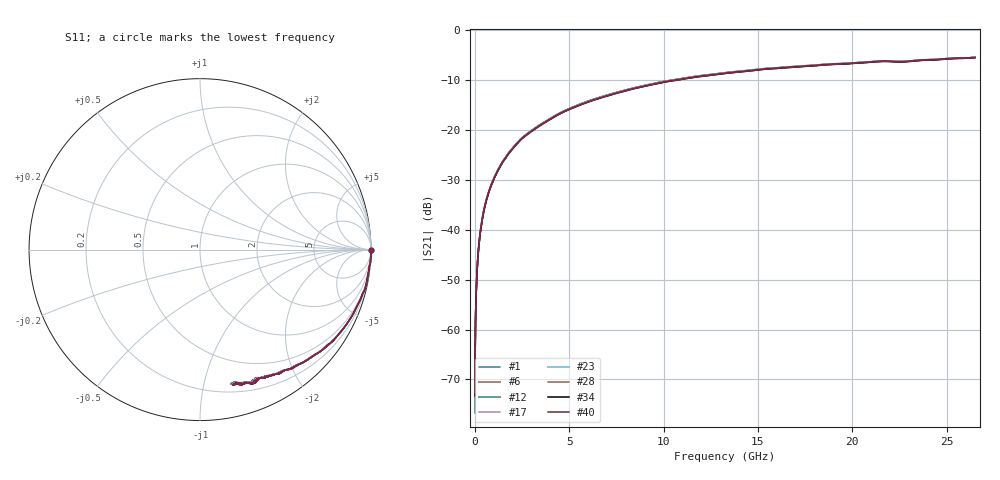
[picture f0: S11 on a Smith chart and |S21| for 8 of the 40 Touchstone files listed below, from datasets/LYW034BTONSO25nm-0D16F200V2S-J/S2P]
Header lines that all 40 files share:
!Keysight Technologies,N5222B,MY61253708,A.15.00.15
!Correction: S11(C  2-Port  )
!S21(C  2-Port  )
!S12(C  2-Port  )
!S22(C  2-Port  )
!S2P File: Measurements: S11, S21, S12, S22:
# Hz S  RI  R 50
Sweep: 10 MHz to 26.5 GHz
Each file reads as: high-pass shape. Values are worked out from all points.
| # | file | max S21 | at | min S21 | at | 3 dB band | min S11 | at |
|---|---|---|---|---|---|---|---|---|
| 1 | LYW034BTONSO25nm_0D16F200V2S_J_N120V_dev.s2p | -5.39 dB | 26.5 GHz | -68.5 dB | 10 MHz | 13.51 GHz-26.5 GHz | -1.9 dB | 25.5 GHz |
| 2 | LYW034BTONSO25nm_0D16F200V2S_J_N122V_dev.s2p | -5.39 dB | 26.5 GHz | -70.9 dB | 10 MHz | 13.51 GHz-26.5 GHz | -1.9 dB | 25.5 GHz |
| 3 | LYW034BTONSO25nm_0D16F200V2S_J_N124V_dev.s2p | -5.39 dB | 26.5 GHz | -75.9 dB | 10 MHz | 13.52 GHz-26.5 GHz | -1.9 dB | 25.5 GHz |
| 4 | LYW034BTONSO25nm_0D16F200V2S_J_N126V_dev.s2p | -5.40 dB | 26.5 GHz | -75.3 dB | 10 MHz | 13.52 GHz-26.5 GHz | -1.9 dB | 25.5 GHz |
| 5 | LYW034BTONSO25nm_0D16F200V2S_J_N128V_dev.s2p | -5.40 dB | 26.5 GHz | -64.9 dB | 20 MHz | 13.52 GHz-26.5 GHz | -1.9 dB | 25.5 GHz |
| 6 | LYW034BTONSO25nm_0D16F200V2S_J_N130V_dev.s2p | -5.40 dB | 26.5 GHz | -67.4 dB | 10 MHz | 13.52 GHz-26.5 GHz | -1.9 dB | 25.5 GHz |
| 7 | LYW034BTONSO25nm_0D16F200V2S_J_N132V_dev.s2p | -5.40 dB | 26.5 GHz | -65.1 dB | 10 MHz | 13.52 GHz-26.5 GHz | -1.9 dB | 25.5 GHz |
| 8 | LYW034BTONSO25nm_0D16F200V2S_J_N134V_dev.s2p | -5.40 dB | 26.5 GHz | -72.4 dB | 10 MHz | 13.55 GHz-26.5 GHz | -1.9 dB | 25.5 GHz |
| 9 | LYW034BTONSO25nm_0D16F200V2S_J_N136V_dev.s2p | -5.40 dB | 26.5 GHz | -67.8 dB | 10 MHz | 13.55 GHz-26.5 GHz | -1.9 dB | 25.5 GHz |
| 10 | LYW034BTONSO25nm_0D16F200V2S_J_N138V_dev.s2p | -5.41 dB | 26.5 GHz | -68.4 dB | 10 MHz | 13.56 GHz-26.5 GHz | -1.9 dB | 25.5 GHz |
| 11 | LYW034BTONSO25nm_0D16F200V2S_J_N140V_dev.s2p | -5.41 dB | 26.5 GHz | -65.9 dB | 10 MHz | 13.56 GHz-26.5 GHz | -1.9 dB | 25.5 GHz |
| 12 | LYW034BTONSO25nm_0D16F200V2S_J_N142V_dev.s2p | -5.41 dB | 26.5 GHz | -76.7 dB | 10 MHz | 13.56 GHz-26.5 GHz | -1.9 dB | 25.5 GHz |
| 13 | LYW034BTONSO25nm_0D16F200V2S_J_N144V_dev.s2p | -5.41 dB | 26.5 GHz | -63.2 dB | 20 MHz | 13.57 GHz-26.5 GHz | -1.9 dB | 25.5 GHz |
| 14 | LYW034BTONSO25nm_0D16F200V2S_J_N146V_dev.s2p | -5.41 dB | 26.5 GHz | -65.9 dB | 10 MHz | 13.57 GHz-26.5 GHz | -1.9 dB | 25.5 GHz |
| 15 | LYW034BTONSO25nm_0D16F200V2S_J_N148V_dev.s2p | -5.41 dB | 26.5 GHz | -73.4 dB | 10 MHz | 13.57 GHz-26.5 GHz | -1.9 dB | 25.5 GHz |
| 16 | LYW034BTONSO25nm_0D16F200V2S_J_N150V_dev.s2p | -5.42 dB | 26.5 GHz | -71.8 dB | 10 MHz | 13.57 GHz-26.5 GHz | -1.9 dB | 25.5 GHz |
| 17 | LYW034BTONSO25nm_0D16F200V2S_J_N152V_dev.s2p | -5.42 dB | 26.5 GHz | -65.0 dB | 10 MHz | 13.57 GHz-26.5 GHz | -1.9 dB | 25.5 GHz |
| 18 | LYW034BTONSO25nm_0D16F200V2S_J_N154V_dev.s2p | -5.42 dB | 26.5 GHz | -70.8 dB | 10 MHz | 13.57 GHz-26.5 GHz | -1.9 dB | 25.5 GHz |
| 19 | LYW034BTONSO25nm_0D16F200V2S_J_N156V_dev.s2p | -5.42 dB | 26.5 GHz | -72.1 dB | 10 MHz | 13.57 GHz-26.5 GHz | -1.9 dB | 25.5 GHz |
| 20 | LYW034BTONSO25nm_0D16F200V2S_J_N158V_dev.s2p | -5.42 dB | 26.5 GHz | -69.2 dB | 10 MHz | 13.58 GHz-26.5 GHz | -1.9 dB | 25.5 GHz |
| 21 | LYW034BTONSO25nm_0D16F200V2S_J_N160V_dev.s2p | -5.43 dB | 26.5 GHz | -69.9 dB | 10 MHz | 13.58 GHz-26.5 GHz | -1.9 dB | 25.5 GHz |
| 22 | LYW034BTONSO25nm_0D16F200V2S_J_N162V_dev.s2p | -5.43 dB | 26.5 GHz | -67.1 dB | 10 MHz | 13.58 GHz-26.5 GHz | -1.9 dB | 25.5 GHz |
| 23 | LYW034BTONSO25nm_0D16F200V2S_J_N164V_dev.s2p | -5.42 dB | 26.5 GHz | -73.5 dB | 10 MHz | 13.57 GHz-26.5 GHz | -1.9 dB | 25.5 GHz |
| 24 | LYW034BTONSO25nm_0D16F200V2S_J_N166V_dev.s2p | -5.43 dB | 26.5 GHz | -66.2 dB | 10 MHz | 13.58 GHz-26.5 GHz | -1.9 dB | 25.5 GHz |
| 25 | LYW034BTONSO25nm_0D16F200V2S_J_N168V_dev.s2p | -5.44 dB | 26.5 GHz | -73.5 dB | 10 MHz | 13.57 GHz-26.5 GHz | -1.9 dB | 25.5 GHz |
| 26 | LYW034BTONSO25nm_0D16F200V2S_J_N170V_dev.s2p | -5.44 dB | 26.5 GHz | -91.6 dB | 10 MHz | 13.63 GHz-26.5 GHz | -1.9 dB | 25.5 GHz |
| 27 | LYW034BTONSO25nm_0D16F200V2S_J_N172V_dev.s2p | -5.45 dB | 26.5 GHz | -65.8 dB | 10 MHz | 13.63 GHz-26.5 GHz | -1.9 dB | 25.5 GHz |
| 28 | LYW034BTONSO25nm_0D16F200V2S_J_N174V_dev.s2p | -5.46 dB | 26.5 GHz | -70.7 dB | 10 MHz | 13.63 GHz-26.5 GHz | -1.9 dB | 25.5 GHz |
| 29 | LYW034BTONSO25nm_0D16F200V2S_J_N176V_dev.s2p | -5.46 dB | 26.5 GHz | -69.9 dB | 10 MHz | 13.69 GHz-26.5 GHz | -1.9 dB | 25.5 GHz |
| 30 | LYW034BTONSO25nm_0D16F200V2S_J_N178V_dev.s2p | -5.46 dB | 26.5 GHz | -64.3 dB | 20 MHz | 13.69 GHz-26.5 GHz | -1.9 dB | 25.5 GHz |
| 31 | LYW034BTONSO25nm_0D16F200V2S_J_N180V_dev.s2p | -5.46 dB | 26.5 GHz | -66.2 dB | 10 MHz | 13.69 GHz-26.5 GHz | -1.9 dB | 25.5 GHz |
| 32 | LYW034BTONSO25nm_0D16F200V2S_J_N182V_dev.s2p | -5.46 dB | 26.5 GHz | -75.1 dB | 10 MHz | 13.69 GHz-26.5 GHz | -1.9 dB | 25.5 GHz |
| 33 | LYW034BTONSO25nm_0D16F200V2S_J_N184V_dev.s2p | -5.46 dB | 26.5 GHz | -63.2 dB | 20 MHz | 13.69 GHz-26.5 GHz | -1.9 dB | 25.5 GHz |
| 34 | LYW034BTONSO25nm_0D16F200V2S_J_N186V_dev.s2p | -5.46 dB | 26.5 GHz | -73.4 dB | 10 MHz | 13.69 GHz-26.5 GHz | -1.9 dB | 25.5 GHz |
| 35 | LYW034BTONSO25nm_0D16F200V2S_J_N188V_dev.s2p | -5.47 dB | 26.5 GHz | -69.2 dB | 10 MHz | 13.69 GHz-26.5 GHz | -1.9 dB | 25.5 GHz |
| 36 | LYW034BTONSO25nm_0D16F200V2S_J_N190V_dev.s2p | -5.47 dB | 26.5 GHz | -69.3 dB | 10 MHz | 13.69 GHz-26.5 GHz | -1.9 dB | 25.5 GHz |
| 37 | LYW034BTONSO25nm_0D16F200V2S_J_N192V_dev.s2p | -5.46 dB | 26.5 GHz | -62.9 dB | 20 MHz | 13.69 GHz-26.5 GHz | -1.9 dB | 25.5 GHz |
| 38 | LYW034BTONSO25nm_0D16F200V2S_J_N194V_dev.s2p | -5.47 dB | 26.5 GHz | -71.3 dB | 10 MHz | 13.7 GHz-26.5 GHz | -1.9 dB | 25.5 GHz |
| 39 | LYW034BTONSO25nm_0D16F200V2S_J_N196V_dev.s2p | -5.47 dB | 26.5 GHz | -68.7 dB | 10 MHz | 13.7 GHz-26.5 GHz | -1.9 dB | 25.5 GHz |
| 40 | LYW034BTONSO25nm_0D16F200V2S_J_N198V_dev.s2p | -5.47 dB | 26.5 GHz | -72.6 dB | 10 MHz | 13.7 GHz-26.5 GHz | -1.9 dB | 25.5 GHz |
